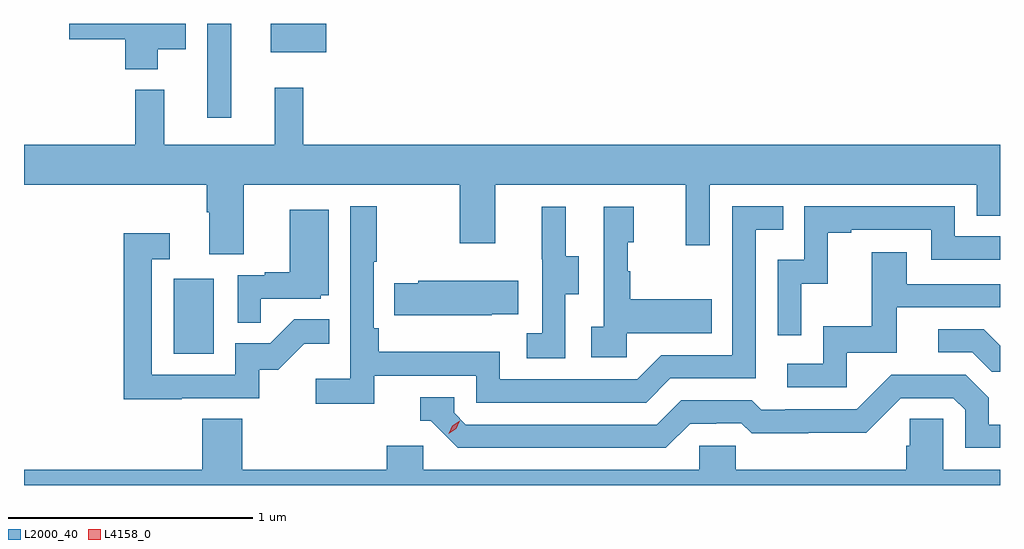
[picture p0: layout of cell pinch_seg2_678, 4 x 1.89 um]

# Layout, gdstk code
import gdstk
lib = gdstk.Library(unit=1e-6, precision=1e-09)
def R(c, l, rs):  # rectangles x0, y0, x1, y1
    for r in rs: c.add(gdstk.rectangle(r[:2], r[2:], *l))
def P(c, l, *ps):  # polygons
    for p in ps: c.add(gdstk.Polygon(p, *l))
L2000_40 = (2000, 40)
L4158_0 = (4158, 0)

pinch_seg2_678 = lib.new_cell('pinch_seg2_678')
R(pinch_seg2_678, L2000_40, [(1107.71,584.34,1107.874,584.647), (1107.849,585.306,1107.946,585.692), (1108.109,585.575,1108.336,585.692)])
P(pinch_seg2_678, L2000_40, [(1107.646,585.587),(1107.76,585.587),(1107.76,585.692),(1107.282,585.692),(1107.282,585.628),(1107.512,585.628),(1107.512,585.506),(1107.646,585.506)],
  [(1108.241,585.43),(1108.124,585.43),(1108.124,585.196),(1107.671,585.196),(1107.671,585.421),(1107.553,585.421),(1107.553,585.196),(1107.097,585.196),(1107.097,585.032),(1107.845,585.032),(1107.845,584.92),(1107.857,584.92),(1107.857,584.746),(1107.997,584.746),(1107.997,585.032),(1108.882,585.032),(1108.882,584.793),(1109.029,584.793),(1109.029,585.032),(1109.81,585.032),(1109.81,584.784),(1109.907,584.784),(1109.907,585.032),(1111.002,585.032),(1111.002,584.905),(1111.097,584.905),(1111.097,585.196),(1108.241,585.196)],
  [(1108.532,584.25),(1108.95,584.25),(1108.95,584.139),(1109.647,584.139),(1109.746,584.238),(1110.096,584.238),(1110.096,584.847),(1110.209,584.847),(1110.209,584.943),(1110,584.943),(1110,584.334),(1109.709,584.334),(1109.61,584.235),(1109.046,584.235),(1109.046,584.347),(1108.55,584.347),(1108.55,584.443),(1108.53,584.443),(1108.53,584.716),(1108.543,584.716),(1108.543,584.944),(1108.434,584.944),(1108.434,584.236),(1108.293,584.236),(1108.293,584.134),(1108.532,584.134)],
  [(1110.282,584.627),(1110.392,584.627),(1110.392,584.835),(1110.487,584.835),(1110.487,584.847),(1110.816,584.847),(1110.816,584.724),(1111.097,584.724),(1111.097,584.82),(1110.912,584.82),(1110.912,584.943),(1110.294,584.943),(1110.294,584.724),(1110.186,584.724),(1110.186,584.415),(1110.282,584.415)],
  [(1109.568,584.423),(1109.915,584.423),(1109.915,584.563),(1109.581,584.563),(1109.581,584.678),(1109.571,584.678),(1109.571,584.796),(1109.596,584.796),(1109.596,584.941),(1109.472,584.941),(1109.472,584.45),(1109.421,584.45),(1109.421,584.325),(1109.568,584.325)],
  [(1109.316,584.584),(1109.371,584.584),(1109.371,584.739),(1109.317,584.739),(1109.317,584.941),(1109.219,584.941),(1109.219,584.727),(1109.22,584.727),(1109.22,584.423),(1109.157,584.423),(1109.157,584.32),(1109.316,584.32)],
  [(1108.067,584.565),(1108.314,584.565),(1108.314,584.58),(1108.345,584.58),(1108.345,584.929),(1108.187,584.929),(1108.187,584.674),(1108.083,584.674),(1108.083,584.661),(1107.972,584.661),(1107.972,584.467),(1108.067,584.467)],
  [(1107.743,584.157),(1108.062,584.157),(1108.062,584.274),(1108.138,584.274),(1108.245,584.381),(1108.349,584.381),(1108.349,584.48),(1108.205,584.48),(1108.107,584.382),(1107.963,584.382),(1107.963,584.253),(1107.621,584.253),(1107.621,584.727),(1107.694,584.727),(1107.694,584.833),(1107.505,584.833),(1107.505,584.152),(1107.743,584.152)],
  [(1110.468,584.343),(1110.673,584.343),(1110.673,584.529),(1111.097,584.529),(1111.097,584.625),(1110.715,584.625),(1110.715,584.755),(1110.571,584.755),(1110.571,584.452),(1110.372,584.452),(1110.372,584.298),(1110.225,584.298),(1110.225,584.202),(1110.468,584.202)],
  [(1109.015,584.501),(1109.123,584.501),(1109.123,584.638),(1108.713,584.638),(1108.713,584.628),(1108.615,584.628),(1108.615,584.498),(1109.015,584.498)],
  [(1111.097,584.372),(1111.03,584.439),(1110.843,584.439),(1110.843,584.346),(1110.984,584.346),(1111.064,584.266),(1111.097,584.266)],
  [(1109.827,584.052),(1109.934,584.052),(1109.934,584.055),(1110.037,584.055),(1110.079,584.013),(1110.312,584.013),(1110.312,584.015),(1110.548,584.015),(1110.69,584.157),(1110.906,584.157),(1110.954,584.109),(1110.954,583.953),(1111.097,583.953),(1111.097,584.049),(1111.051,584.049),(1111.051,584.159),(1110.957,584.253),(1110.651,584.253),(1110.51,584.112),(1110.217,584.112),(1110.217,584.109),(1110.118,584.109),(1110.079,584.148),(1109.79,584.148),(1109.691,584.049),(1108.908,584.049),(1108.86,584.097),(1108.86,584.16),(1108.721,584.16),(1108.721,584.064),(1108.764,584.064),(1108.875,583.953),(1109.728,583.953)],
  [(1111.097,583.864),(1110.864,583.864),(1110.864,584.072),(1110.727,584.072),(1110.727,583.962),(1110.713,583.962),(1110.713,583.864),(1110.015,583.864),(1110.015,583.962),(1109.865,583.962),(1109.865,583.864),(1108.734,583.864),(1108.734,583.962),(1108.583,583.962),(1108.583,583.864),(1107.992,583.864),(1107.992,584.072),(1107.827,584.072),(1107.827,583.864),(1107.097,583.864),(1107.097,583.8),(1111.097,583.8)])
P(pinch_seg2_678, L4158_0, [(1108.837,584.011),(1108.837,584.011),(1108.852,584.044),(1108.882,584.064),(1108.883,584.064),(1108.883,584.064),(1108.868,584.031),(1108.837,584.011)])

lib.write_gds('pinch_seg2_678.gds')
